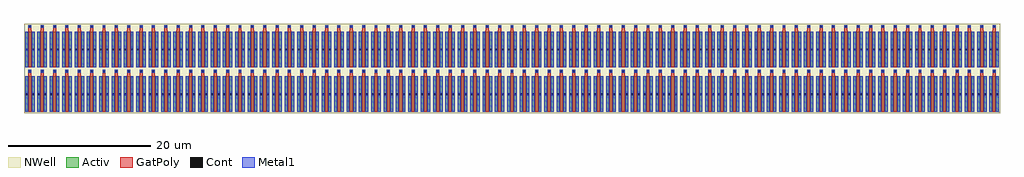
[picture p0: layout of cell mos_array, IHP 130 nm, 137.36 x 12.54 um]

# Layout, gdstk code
import gdstk
lib = gdstk.Library(unit=1e-6, precision=1e-09)
def R(c, l, rs):  # rectangles x0, y0, x1, y1
    for r in rs: c.add(gdstk.rectangle(r[:2], r[2:], *l))
def A(c, l, x, y, w, h, nx, ny, dx, dy):  # array of equal rectangles
    R(c, l, [(x+i*dx, y+j*dy, x+i*dx+w, y+j*dy+h) for i in range(nx) for j in range(ny)])
Activ = (1, 0)
GatPoly = (5, 0)
Cont = (6, 0)
Metal1 = (8, 0)
NWell = (31, 0)

mos_array = lib.new_cell('mos_array')
A(mos_array, Activ, 0, 0, 1.34, 5, 79, 2, 1.74, 6.32)
A(mos_array, GatPoly, 0.42, 0, 0.5, 5, 79, 2, 1.74, 6.32)
A(mos_array, GatPoly, 0.42, 5, 0.5, 0.1, 79, 2, 1.74, 6.32)
A(mos_array, GatPoly, 0.46, 5.1, 0.42, 0.82, 79, 2, 1.74, 6.32)
A(mos_array, Cont, 0.56, 5.6, 0.22, 0.22, 79, 2, 1.74, 6.32)
R(mos_array, Cont, [(0.1,2.39,0.32,2.61), (1.02,2.39,1.24,2.61), (1.84,2.39,2.06,2.61), (2.76,2.39,2.98,2.61), (3.58,2.39,3.8,2.61), (4.5,2.39,4.72,2.61), (5.32,2.39,5.54,2.61), (6.24,2.39,6.46,2.61), (7.06,2.39,7.28,2.61), (7.98,2.39,8.2,2.61), (8.8,2.39,9.02,2.61), (9.72,2.39,9.94,2.61), (10.54,2.39,10.76,2.61), (11.46,2.39,11.68,2.61), (12.28,2.39,12.5,2.61), (13.2,2.39,13.42,2.61), (14.02,2.39,14.24,2.61), (14.94,2.39,15.16,2.61), (15.76,2.39,15.98,2.61), (16.68,2.39,16.9,2.61), (17.5,2.39,17.72,2.61), (18.42,2.39,18.64,2.61), (19.24,2.39,19.46,2.61), (20.16,2.39,20.38,2.61), (20.98,2.39,21.2,2.61), (21.9,2.39,22.12,2.61), (22.72,2.39,22.94,2.61), (23.64,2.39,23.86,2.61), (24.46,2.39,24.68,2.61), (25.38,2.39,25.6,2.61), (26.2,2.39,26.42,2.61), (27.12,2.39,27.34,2.61), (27.94,2.39,28.16,2.61), (28.86,2.39,29.08,2.61), (29.68,2.39,29.9,2.61), (30.6,2.39,30.82,2.61), (31.42,2.39,31.64,2.61), (32.34,2.39,32.56,2.61), (33.16,2.39,33.38,2.61), (34.08,2.39,34.3,2.61), (34.9,2.39,35.12,2.61), (35.82,2.39,36.04,2.61), (36.64,2.39,36.86,2.61), (37.56,2.39,37.78,2.61), (38.38,2.39,38.6,2.61), (39.3,2.39,39.52,2.61), (40.12,2.39,40.34,2.61), (41.04,2.39,41.26,2.61), (41.86,2.39,42.08,2.61), (42.78,2.39,43,2.61), (43.6,2.39,43.82,2.61), (44.52,2.39,44.74,2.61), (45.34,2.39,45.56,2.61), (46.26,2.39,46.48,2.61), (47.08,2.39,47.3,2.61), (48,2.39,48.22,2.61), (48.82,2.39,49.04,2.61), (49.74,2.39,49.96,2.61), (50.56,2.39,50.78,2.61), (51.48,2.39,51.7,2.61), (52.3,2.39,52.52,2.61), (53.22,2.39,53.44,2.61), (54.04,2.39,54.26,2.61), (54.96,2.39,55.18,2.61), (55.78,2.39,56,2.61), (56.7,2.39,56.92,2.61), (57.52,2.39,57.74,2.61), (58.44,2.39,58.66,2.61), (59.26,2.39,59.48,2.61), (60.18,2.39,60.4,2.61), (61,2.39,61.22,2.61), (61.92,2.39,62.14,2.61), (62.74,2.39,62.96,2.61), (63.66,2.39,63.88,2.61), (64.48,2.39,64.7,2.61), (65.4,2.39,65.62,2.61), (66.22,2.39,66.44,2.61), (67.14,2.39,67.36,2.61), (67.96,2.39,68.18,2.61), (68.88,2.39,69.1,2.61), (69.7,2.39,69.92,2.61), (70.62,2.39,70.84,2.61), (71.44,2.39,71.66,2.61), (72.36,2.39,72.58,2.61), (73.18,2.39,73.4,2.61), (74.1,2.39,74.32,2.61), (74.92,2.39,75.14,2.61), (75.84,2.39,76.06,2.61), (76.66,2.39,76.88,2.61), (77.58,2.39,77.8,2.61), (78.4,2.39,78.62,2.61), (79.32,2.39,79.54,2.61), (80.14,2.39,80.36,2.61), (81.06,2.39,81.28,2.61), (81.88,2.39,82.1,2.61), (82.8,2.39,83.02,2.61), (83.62,2.39,83.84,2.61), (84.54,2.39,84.76,2.61), (85.36,2.39,85.58,2.61), (86.28,2.39,86.5,2.61), (87.1,2.39,87.32,2.61), (88.02,2.39,88.24,2.61), (88.84,2.39,89.06,2.61), (89.76,2.39,89.98,2.61), (90.58,2.39,90.8,2.61), (91.5,2.39,91.72,2.61), (92.32,2.39,92.54,2.61), (93.24,2.39,93.46,2.61), (94.06,2.39,94.28,2.61), (94.98,2.39,95.2,2.61), (95.8,2.39,96.02,2.61), (96.72,2.39,96.94,2.61), (97.54,2.39,97.76,2.61), (98.46,2.39,98.68,2.61), (99.28,2.39,99.5,2.61), (100.2,2.39,100.42,2.61), (101.02,2.39,101.24,2.61), (101.94,2.39,102.16,2.61), (102.76,2.39,102.98,2.61), (103.68,2.39,103.9,2.61), (104.5,2.39,104.72,2.61), (105.42,2.39,105.64,2.61), (106.24,2.39,106.46,2.61), (107.16,2.39,107.38,2.61), (107.98,2.39,108.2,2.61), (108.9,2.39,109.12,2.61), (109.72,2.39,109.94,2.61), (110.64,2.39,110.86,2.61), (111.46,2.39,111.68,2.61), (112.38,2.39,112.6,2.61), (113.2,2.39,113.42,2.61), (114.12,2.39,114.34,2.61), (114.94,2.39,115.16,2.61), (115.86,2.39,116.08,2.61), (116.68,2.39,116.9,2.61), (117.6,2.39,117.82,2.61), (118.42,2.39,118.64,2.61), (119.34,2.39,119.56,2.61), (120.16,2.39,120.38,2.61), (121.08,2.39,121.3,2.61), (121.9,2.39,122.12,2.61), (122.82,2.39,123.04,2.61), (123.64,2.39,123.86,2.61), (124.56,2.39,124.78,2.61), (125.38,2.39,125.6,2.61), (126.3,2.39,126.52,2.61), (127.12,2.39,127.34,2.61), (128.04,2.39,128.26,2.61), (128.86,2.39,129.08,2.61), (129.78,2.39,130,2.61), (130.6,2.39,130.82,2.61), (131.52,2.39,131.74,2.61), (132.34,2.39,132.56,2.61), (133.26,2.39,133.48,2.61), (134.08,2.39,134.3,2.61), (135,2.39,135.22,2.61), (135.82,2.39,136.04,2.61), (136.74,2.39,136.96,2.61), (0.1,8.71,0.32,8.93), (1.02,8.71,1.24,8.93), (1.84,8.71,2.06,8.93), (2.76,8.71,2.98,8.93), (3.58,8.71,3.8,8.93), (4.5,8.71,4.72,8.93), (5.32,8.71,5.54,8.93), (6.24,8.71,6.46,8.93), (7.06,8.71,7.28,8.93), (7.98,8.71,8.2,8.93), (8.8,8.71,9.02,8.93), (9.72,8.71,9.94,8.93), (10.54,8.71,10.76,8.93), (11.46,8.71,11.68,8.93), (12.28,8.71,12.5,8.93), (13.2,8.71,13.42,8.93), (14.02,8.71,14.24,8.93), (14.94,8.71,15.16,8.93), (15.76,8.71,15.98,8.93), (16.68,8.71,16.9,8.93), (17.5,8.71,17.72,8.93), (18.42,8.71,18.64,8.93), (19.24,8.71,19.46,8.93), (20.16,8.71,20.38,8.93), (20.98,8.71,21.2,8.93), (21.9,8.71,22.12,8.93), (22.72,8.71,22.94,8.93), (23.64,8.71,23.86,8.93), (24.46,8.71,24.68,8.93), (25.38,8.71,25.6,8.93), (26.2,8.71,26.42,8.93), (27.12,8.71,27.34,8.93), (27.94,8.71,28.16,8.93), (28.86,8.71,29.08,8.93), (29.68,8.71,29.9,8.93), (30.6,8.71,30.82,8.93), (31.42,8.71,31.64,8.93), (32.34,8.71,32.56,8.93), (33.16,8.71,33.38,8.93), (34.08,8.71,34.3,8.93), (34.9,8.71,35.12,8.93), (35.82,8.71,36.04,8.93), (36.64,8.71,36.86,8.93), (37.56,8.71,37.78,8.93), (38.38,8.71,38.6,8.93), (39.3,8.71,39.52,8.93), (40.12,8.71,40.34,8.93), (41.04,8.71,41.26,8.93), (41.86,8.71,42.08,8.93), (42.78,8.71,43,8.93), (43.6,8.71,43.82,8.93), (44.52,8.71,44.74,8.93), (45.34,8.71,45.56,8.93), (46.26,8.71,46.48,8.93), (47.08,8.71,47.3,8.93), (48,8.71,48.22,8.93), (48.82,8.71,49.04,8.93), (49.74,8.71,49.96,8.93), (50.56,8.71,50.78,8.93), (51.48,8.71,51.7,8.93), (52.3,8.71,52.52,8.93), (53.22,8.71,53.44,8.93), (54.04,8.71,54.26,8.93), (54.96,8.71,55.18,8.93), (55.78,8.71,56,8.93), (56.7,8.71,56.92,8.93), (57.52,8.71,57.74,8.93), (58.44,8.71,58.66,8.93), (59.26,8.71,59.48,8.93), (60.18,8.71,60.4,8.93), (61,8.71,61.22,8.93), (61.92,8.71,62.14,8.93), (62.74,8.71,62.96,8.93), (63.66,8.71,63.88,8.93), (64.48,8.71,64.7,8.93), (65.4,8.71,65.62,8.93), (66.22,8.71,66.44,8.93), (67.14,8.71,67.36,8.93), (67.96,8.71,68.18,8.93), (68.88,8.71,69.1,8.93), (69.7,8.71,69.92,8.93), (70.62,8.71,70.84,8.93), (71.44,8.71,71.66,8.93), (72.36,8.71,72.58,8.93), (73.18,8.71,73.4,8.93), (74.1,8.71,74.32,8.93), (74.92,8.71,75.14,8.93), (75.84,8.71,76.06,8.93), (76.66,8.71,76.88,8.93), (77.58,8.71,77.8,8.93), (78.4,8.71,78.62,8.93), (79.32,8.71,79.54,8.93), (80.14,8.71,80.36,8.93), (81.06,8.71,81.28,8.93), (81.88,8.71,82.1,8.93), (82.8,8.71,83.02,8.93), (83.62,8.71,83.84,8.93), (84.54,8.71,84.76,8.93), (85.36,8.71,85.58,8.93), (86.28,8.71,86.5,8.93), (87.1,8.71,87.32,8.93), (88.02,8.71,88.24,8.93), (88.84,8.71,89.06,8.93), (89.76,8.71,89.98,8.93), (90.58,8.71,90.8,8.93), (91.5,8.71,91.72,8.93), (92.32,8.71,92.54,8.93), (93.24,8.71,93.46,8.93), (94.06,8.71,94.28,8.93), (94.98,8.71,95.2,8.93), (95.8,8.71,96.02,8.93), (96.72,8.71,96.94,8.93), (97.54,8.71,97.76,8.93), (98.46,8.71,98.68,8.93), (99.28,8.71,99.5,8.93), (100.2,8.71,100.42,8.93), (101.02,8.71,101.24,8.93), (101.94,8.71,102.16,8.93), (102.76,8.71,102.98,8.93), (103.68,8.71,103.9,8.93), (104.5,8.71,104.72,8.93), (105.42,8.71,105.64,8.93), (106.24,8.71,106.46,8.93), (107.16,8.71,107.38,8.93), (107.98,8.71,108.2,8.93), (108.9,8.71,109.12,8.93), (109.72,8.71,109.94,8.93), (110.64,8.71,110.86,8.93), (111.46,8.71,111.68,8.93), (112.38,8.71,112.6,8.93), (113.2,8.71,113.42,8.93), (114.12,8.71,114.34,8.93), (114.94,8.71,115.16,8.93), (115.86,8.71,116.08,8.93), (116.68,8.71,116.9,8.93), (117.6,8.71,117.82,8.93), (118.42,8.71,118.64,8.93), (119.34,8.71,119.56,8.93), (120.16,8.71,120.38,8.93), (121.08,8.71,121.3,8.93), (121.9,8.71,122.12,8.93), (122.82,8.71,123.04,8.93), (123.64,8.71,123.86,8.93), (124.56,8.71,124.78,8.93), (125.38,8.71,125.6,8.93), (126.3,8.71,126.52,8.93), (127.12,8.71,127.34,8.93), (128.04,8.71,128.26,8.93), (128.86,8.71,129.08,8.93), (129.78,8.71,130,8.93), (130.6,8.71,130.82,8.93), (131.52,8.71,131.74,8.93), (132.34,8.71,132.56,8.93), (133.26,8.71,133.48,8.93), (134.08,8.71,134.3,8.93), (135,8.71,135.22,8.93), (135.82,8.71,136.04,8.93), (136.74,8.71,136.96,8.93)])
A(mos_array, Metal1, 0.46, 5.5, 0.42, 0.42, 79, 2, 1.74, 6.32)
R(mos_array, Metal1, [(0,0,0.42,5), (0.92,0,1.34,5), (1.74,0,2.16,5), (2.66,0,3.08,5), (3.48,0,3.9,5), (4.4,0,4.82,5), (5.22,0,5.64,5), (6.14,0,6.56,5), (6.96,0,7.38,5), (7.88,0,8.3,5), (8.7,0,9.12,5), (9.62,0,10.04,5), (10.44,0,10.86,5), (11.36,0,11.78,5), (12.18,0,12.6,5), (13.1,0,13.52,5), (13.92,0,14.34,5), (14.84,0,15.26,5), (15.66,0,16.08,5), (16.58,0,17,5), (17.4,0,17.82,5), (18.32,0,18.74,5), (19.14,0,19.56,5), (20.06,0,20.48,5), (20.88,0,21.3,5), (21.8,0,22.22,5), (22.62,0,23.04,5), (23.54,0,23.96,5), (24.36,0,24.78,5), (25.28,0,25.7,5), (26.1,0,26.52,5), (27.02,0,27.44,5), (27.84,0,28.26,5), (28.76,0,29.18,5), (29.58,0,30,5), (30.5,0,30.92,5), (31.32,0,31.74,5), (32.24,0,32.66,5), (33.06,0,33.48,5), (33.98,0,34.4,5), (34.8,0,35.22,5), (35.72,0,36.14,5), (36.54,0,36.96,5), (37.46,0,37.88,5), (38.28,0,38.7,5), (39.2,0,39.62,5), (40.02,0,40.44,5), (40.94,0,41.36,5), (41.76,0,42.18,5), (42.68,0,43.1,5), (43.5,0,43.92,5), (44.42,0,44.84,5), (45.24,0,45.66,5), (46.16,0,46.58,5), (46.98,0,47.4,5), (47.9,0,48.32,5), (48.72,0,49.14,5), (49.64,0,50.06,5), (50.46,0,50.88,5), (51.38,0,51.8,5), (52.2,0,52.62,5), (53.12,0,53.54,5), (53.94,0,54.36,5), (54.86,0,55.28,5), (55.68,0,56.1,5), (56.6,0,57.02,5), (57.42,0,57.84,5), (58.34,0,58.76,5), (59.16,0,59.58,5), (60.08,0,60.5,5), (60.9,0,61.32,5), (61.82,0,62.24,5), (62.64,0,63.06,5), (63.56,0,63.98,5), (64.38,0,64.8,5), (65.3,0,65.72,5), (66.12,0,66.54,5), (67.04,0,67.46,5), (67.86,0,68.28,5), (68.78,0,69.2,5), (69.6,0,70.02,5), (70.52,0,70.94,5), (71.34,0,71.76,5), (72.26,0,72.68,5), (73.08,0,73.5,5), (74,0,74.42,5), (74.82,0,75.24,5), (75.74,0,76.16,5), (76.56,0,76.98,5), (77.48,0,77.9,5), (78.3,0,78.72,5), (79.22,0,79.64,5), (80.04,0,80.46,5), (80.96,0,81.38,5), (81.78,0,82.2,5), (82.7,0,83.12,5), (83.52,0,83.94,5), (84.44,0,84.86,5), (85.26,0,85.68,5), (86.18,0,86.6,5), (87,0,87.42,5), (87.92,0,88.34,5), (88.74,0,89.16,5), (89.66,0,90.08,5), (90.48,0,90.9,5), (91.4,0,91.82,5), (92.22,0,92.64,5), (93.14,0,93.56,5), (93.96,0,94.38,5), (94.88,0,95.3,5), (95.7,0,96.12,5), (96.62,0,97.04,5), (97.44,0,97.86,5), (98.36,0,98.78,5), (99.18,0,99.6,5), (100.1,0,100.52,5), (100.92,0,101.34,5), (101.84,0,102.26,5), (102.66,0,103.08,5), (103.58,0,104,5), (104.4,0,104.82,5), (105.32,0,105.74,5), (106.14,0,106.56,5), (107.06,0,107.48,5), (107.88,0,108.3,5), (108.8,0,109.22,5), (109.62,0,110.04,5), (110.54,0,110.96,5), (111.36,0,111.78,5), (112.28,0,112.7,5), (113.1,0,113.52,5), (114.02,0,114.44,5), (114.84,0,115.26,5), (115.76,0,116.18,5), (116.58,0,117,5), (117.5,0,117.92,5), (118.32,0,118.74,5), (119.24,0,119.66,5), (120.06,0,120.48,5), (120.98,0,121.4,5), (121.8,0,122.22,5), (122.72,0,123.14,5), (123.54,0,123.96,5), (124.46,0,124.88,5), (125.28,0,125.7,5), (126.2,0,126.62,5), (127.02,0,127.44,5), (127.94,0,128.36,5), (128.76,0,129.18,5), (129.68,0,130.1,5), (130.5,0,130.92,5), (131.42,0,131.84,5), (132.24,0,132.66,5), (133.16,0,133.58,5), (133.98,0,134.4,5), (134.9,0,135.32,5), (135.72,0,136.14,5), (136.64,0,137.06,5), (0,6.32,0.42,11.32), (0.92,6.32,1.34,11.32), (1.74,6.32,2.16,11.32), (2.66,6.32,3.08,11.32), (3.48,6.32,3.9,11.32), (4.4,6.32,4.82,11.32), (5.22,6.32,5.64,11.32), (6.14,6.32,6.56,11.32), (6.96,6.32,7.38,11.32), (7.88,6.32,8.3,11.32), (8.7,6.32,9.12,11.32), (9.62,6.32,10.04,11.32), (10.44,6.32,10.86,11.32), (11.36,6.32,11.78,11.32), (12.18,6.32,12.6,11.32), (13.1,6.32,13.52,11.32), (13.92,6.32,14.34,11.32), (14.84,6.32,15.26,11.32), (15.66,6.32,16.08,11.32), (16.58,6.32,17,11.32), (17.4,6.32,17.82,11.32), (18.32,6.32,18.74,11.32), (19.14,6.32,19.56,11.32), (20.06,6.32,20.48,11.32), (20.88,6.32,21.3,11.32), (21.8,6.32,22.22,11.32), (22.62,6.32,23.04,11.32), (23.54,6.32,23.96,11.32), (24.36,6.32,24.78,11.32), (25.28,6.32,25.7,11.32), (26.1,6.32,26.52,11.32), (27.02,6.32,27.44,11.32), (27.84,6.32,28.26,11.32), (28.76,6.32,29.18,11.32), (29.58,6.32,30,11.32), (30.5,6.32,30.92,11.32), (31.32,6.32,31.74,11.32), (32.24,6.32,32.66,11.32), (33.06,6.32,33.48,11.32), (33.98,6.32,34.4,11.32), (34.8,6.32,35.22,11.32), (35.72,6.32,36.14,11.32), (36.54,6.32,36.96,11.32), (37.46,6.32,37.88,11.32), (38.28,6.32,38.7,11.32), (39.2,6.32,39.62,11.32), (40.02,6.32,40.44,11.32), (40.94,6.32,41.36,11.32), (41.76,6.32,42.18,11.32), (42.68,6.32,43.1,11.32), (43.5,6.32,43.92,11.32), (44.42,6.32,44.84,11.32), (45.24,6.32,45.66,11.32), (46.16,6.32,46.58,11.32), (46.98,6.32,47.4,11.32), (47.9,6.32,48.32,11.32), (48.72,6.32,49.14,11.32), (49.64,6.32,50.06,11.32), (50.46,6.32,50.88,11.32), (51.38,6.32,51.8,11.32), (52.2,6.32,52.62,11.32), (53.12,6.32,53.54,11.32), (53.94,6.32,54.36,11.32), (54.86,6.32,55.28,11.32), (55.68,6.32,56.1,11.32), (56.6,6.32,57.02,11.32), (57.42,6.32,57.84,11.32), (58.34,6.32,58.76,11.32), (59.16,6.32,59.58,11.32), (60.08,6.32,60.5,11.32), (60.9,6.32,61.32,11.32), (61.82,6.32,62.24,11.32), (62.64,6.32,63.06,11.32), (63.56,6.32,63.98,11.32), (64.38,6.32,64.8,11.32), (65.3,6.32,65.72,11.32), (66.12,6.32,66.54,11.32), (67.04,6.32,67.46,11.32), (67.86,6.32,68.28,11.32), (68.78,6.32,69.2,11.32), (69.6,6.32,70.02,11.32), (70.52,6.32,70.94,11.32), (71.34,6.32,71.76,11.32), (72.26,6.32,72.68,11.32), (73.08,6.32,73.5,11.32), (74,6.32,74.42,11.32), (74.82,6.32,75.24,11.32), (75.74,6.32,76.16,11.32), (76.56,6.32,76.98,11.32), (77.48,6.32,77.9,11.32), (78.3,6.32,78.72,11.32), (79.22,6.32,79.64,11.32), (80.04,6.32,80.46,11.32), (80.96,6.32,81.38,11.32), (81.78,6.32,82.2,11.32), (82.7,6.32,83.12,11.32), (83.52,6.32,83.94,11.32), (84.44,6.32,84.86,11.32), (85.26,6.32,85.68,11.32), (86.18,6.32,86.6,11.32), (87,6.32,87.42,11.32), (87.92,6.32,88.34,11.32), (88.74,6.32,89.16,11.32), (89.66,6.32,90.08,11.32), (90.48,6.32,90.9,11.32), (91.4,6.32,91.82,11.32), (92.22,6.32,92.64,11.32), (93.14,6.32,93.56,11.32), (93.96,6.32,94.38,11.32), (94.88,6.32,95.3,11.32), (95.7,6.32,96.12,11.32), (96.62,6.32,97.04,11.32), (97.44,6.32,97.86,11.32), (98.36,6.32,98.78,11.32), (99.18,6.32,99.6,11.32), (100.1,6.32,100.52,11.32), (100.92,6.32,101.34,11.32), (101.84,6.32,102.26,11.32), (102.66,6.32,103.08,11.32), (103.58,6.32,104,11.32), (104.4,6.32,104.82,11.32), (105.32,6.32,105.74,11.32), (106.14,6.32,106.56,11.32), (107.06,6.32,107.48,11.32), (107.88,6.32,108.3,11.32), (108.8,6.32,109.22,11.32), (109.62,6.32,110.04,11.32), (110.54,6.32,110.96,11.32), (111.36,6.32,111.78,11.32), (112.28,6.32,112.7,11.32), (113.1,6.32,113.52,11.32), (114.02,6.32,114.44,11.32), (114.84,6.32,115.26,11.32), (115.76,6.32,116.18,11.32), (116.58,6.32,117,11.32), (117.5,6.32,117.92,11.32), (118.32,6.32,118.74,11.32), (119.24,6.32,119.66,11.32), (120.06,6.32,120.48,11.32), (120.98,6.32,121.4,11.32), (121.8,6.32,122.22,11.32), (122.72,6.32,123.14,11.32), (123.54,6.32,123.96,11.32), (124.46,6.32,124.88,11.32), (125.28,6.32,125.7,11.32), (126.2,6.32,126.62,11.32), (127.02,6.32,127.44,11.32), (127.94,6.32,128.36,11.32), (128.76,6.32,129.18,11.32), (129.68,6.32,130.1,11.32), (130.5,6.32,130.92,11.32), (131.42,6.32,131.84,11.32), (132.24,6.32,132.66,11.32), (133.16,6.32,133.58,11.32), (133.98,6.32,134.4,11.32), (134.9,6.32,135.32,11.32), (135.72,6.32,136.14,11.32), (136.64,6.32,137.06,11.32)])
R(mos_array, NWell, [(-0.15,-0.15,137.21,12.39)])

lib.write_gds('mos_array.gds')
